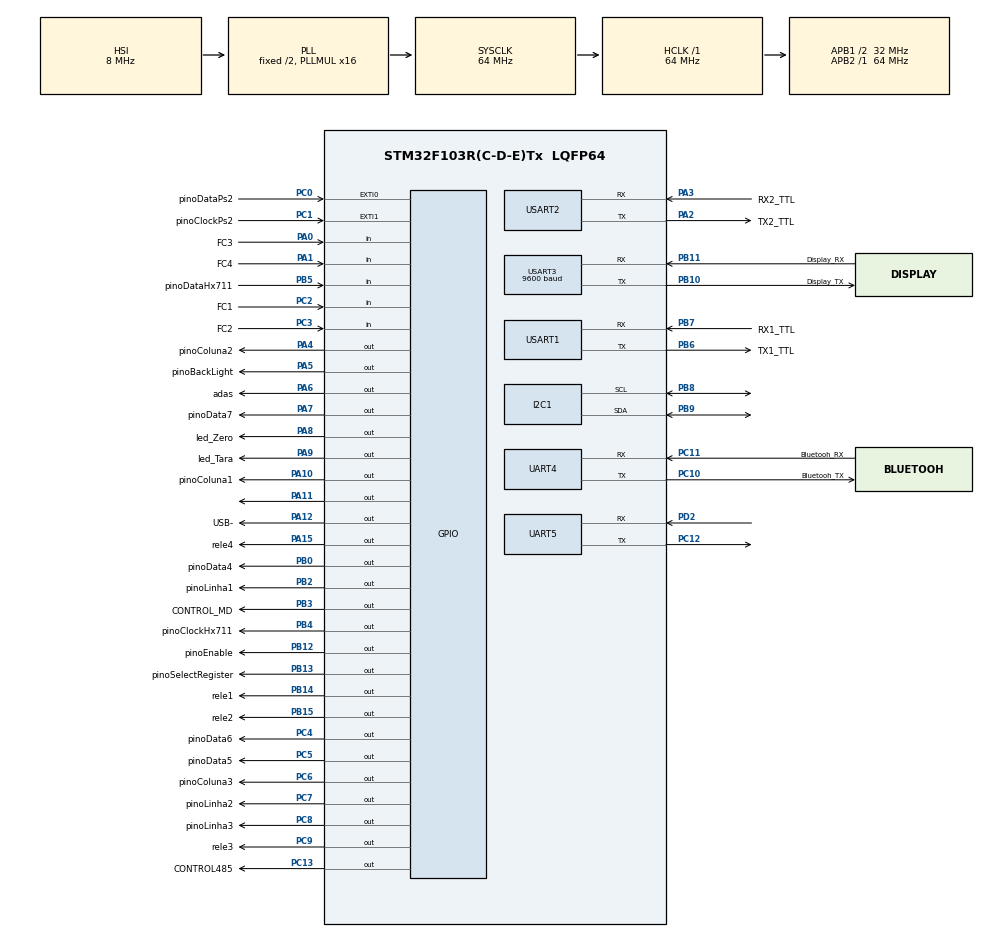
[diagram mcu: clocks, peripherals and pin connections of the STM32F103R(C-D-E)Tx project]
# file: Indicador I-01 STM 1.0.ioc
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Mcu.Family=STM32F1
Mcu.Name=STM32F103R(C-D-E)Tx
Mcu.Package=LQFP64
NVIC.EXTI0_IRQn=true\:1\:0\:true\:false\:true\:true\:true\:true
NVIC.EXTI1_IRQn=true\:1\:0\:true\:false\:true\:true\:true\:true
NVIC.PriorityGroup=NVIC_PRIORITYGROUP_4
NVIC.TIM2_IRQn=true\:0\:0\:false\:false\:true\:true\:true\:true
NVIC.TIM3_IRQn=true\:0\:0\:false\:false\:true\:true\:true\:true
NVIC.UART4_IRQn=true\:1\:0\:true\:false\:true\:true\:true\:true
NVIC.UART5_IRQn=true\:1\:0\:true\:false\:true\:true\:true\:true
NVIC.USART1_IRQn=true\:1\:0\:true\:false\:true\:true\:true\:true
NVIC.USART2_IRQn=true\:0\:0\:false\:false\:true\:true\:true\:true
NVIC.USART3_IRQn=true\:1\:0\:true\:false\:true\:true\:true\:true
PA0-WKUP.GPIO_Label=FC3
PA0-WKUP.Signal=GPIO_Input
PA1.GPIO_Label=FC4
PA1.Signal=GPIO_Input
PA10.GPIO_Label=pinoColuna1
PA10.Signal=GPIO_Output
PA11.Signal=GPIO_Output
PA12.GPIO_Label=USB-
PA12.Signal=GPIO_Output
PA13.Mode=Serial_Wire
PA13.Signal=SYS_JTMS-SWDIO
PA14.Mode=Serial_Wire
PA14.Signal=SYS_JTCK-SWCLK
PA15.GPIO_Label=rele4
PA15.Signal=GPIO_Output
PA2.GPIO_Label=TX2_TTL
PA2.Mode=Asynchronous
PA2.Signal=USART2_TX
PA3.GPIO_Label=RX2_TTL
PA3.Mode=Asynchronous
PA3.Signal=USART2_RX
PA4.GPIO_Label=pinoColuna2
PA4.Signal=GPIO_Output
PA5.GPIO_Label=pinoBackLight
PA5.Signal=GPIO_Output
PA6.GPIO_Label=adas
PA6.Signal=GPIO_Output
PA7.GPIO_Label=pinoData7
PA7.Signal=GPIO_Output
PA8.GPIO_Label=led_Zero
PA8.Signal=GPIO_Output
PA9.GPIO_Label=led_Tara
PA9.Signal=GPIO_Output
PB0.GPIO_Label=pinoData4
PB0.Signal=GPIO_Output
PB10.GPIO_Label=Display_TX
PB10.Mode=Asynchronous
PB10.Signal=USART3_TX
PB11.GPIO_Label=Display_RX
PB11.Mode=Asynchronous
PB11.Signal=USART3_RX
PB12.GPIO_Label=pinoEnable
PB12.Signal=GPIO_Output
PB13.GPIO_Label=pinoSelectRegister
PB13.Signal=GPIO_Output
PB14.GPIO_Label=rele1
PB14.Signal=GPIO_Output
PB15.GPIO_Label=rele2
PB15.Signal=GPIO_Output
PB2.GPIO_Label=pinoLinha1
PB2.Signal=GPIO_Output
PB3.GPIO_Label=CONTROL_MD
PB3.Signal=GPIO_Output
PB4.GPIO_Label=pinoClockHx711
PB4.Signal=GPIO_Output
PB5.GPIO_Label=pinoDataHx711
PB5.Signal=GPIO_Input
PB6.GPIO_Label=TX1_TTL
PB6.Mode=Asynchronous
PB6.Signal=USART1_TX
PB7.GPIO_Label=RX1_TTL
PB7.Mode=Asynchronous
PB7.Signal=USART1_RX
PB8.Mode=I2C
PB8.Signal=I2C1_SCL
PB9.Mode=I2C
PB9.Signal=I2C1_SDA
PC0.GPIO_Label=pinoDataPs2
PC0.Signal=GPXTI0
PC1.GPIO_Label=pinoClockPs2
PC1.GPIO_ModeDefaultEXTI=GPIO_MODE_IT_FALLING
PC1.Signal=GPXTI1
PC10.GPIO_Label=Bluetooh_TX
PC10.Mode=Asynchronous
PC10.Signal=UART4_TX
PC11.GPIO_Label=Bluetooh_RX
PC11.Mode=Asynchronous
PC11.Signal=UART4_RX
PC12.Mode=Asynchronous
PC12.Signal=UART5_TX
PC13-TAMPER-RTC.GPIO_Label=CONTROL485
PC13-TAMPER-RTC.Signal=GPIO_Output
PC14-OSC32_IN.Mode=LSE-External-Oscillator
PC14-OSC32_IN.Signal=RCC_OSC32_IN
PC15-OSC32_OUT.Mode=LSE-External-Oscillator
PC15-OSC32_OUT.Signal=RCC_OSC32_OUT
PC2.GPIO_Label=FC1
PC2.Signal=GPIO_Input
PC3.GPIO_Label=FC2
PC3.Signal=GPIO_Input
PC4.GPIO_Label=pinoData6
PC4.Signal=GPIO_Output
PC5.GPIO_Label=pinoData5
PC5.Signal=GPIO_Output
PC6.GPIO_Label=pinoColuna3
PC6.Signal=GPIO_Output
PC7.GPIO_Label=pinoLinha2
PC7.Signal=GPIO_Output
PC8.GPIO_Label=pinoLinha3
PC8.Signal=GPIO_Output
PC9.GPIO_Label=rele3
PC9.Signal=GPIO_Output
PD0-OSC_IN.Mode=HSE-External-Oscillator
PD0-OSC_IN.Signal=RCC_OSC_IN
PD1-OSC_OUT.Mode=HSE-External-Oscillator
PD1-OSC_OUT.Signal=RCC_OSC_OUT
PD2.Mode=Asynchronous
PD2.Signal=UART5_RX
ProjectManager.HeapSize=0x200
ProjectManager.StackSize=0x400
ProjectManager.TargetToolchain=STM32CubeIDE
RCC.ADCPresc=RCC_ADCPCLK2_DIV6
RCC.AHBFreq_Value=64000000
RCC.APB1CLKDivider=RCC_HCLK_DIV2
RCC.APB1Freq_Value=32000000
RCC.APB1TimFreq_Value=64000000
RCC.APB2Freq_Value=64000000
RCC.APB2TimFreq_Value=64000000
RCC.HCLKFreq_Value=64000000
RCC.HSEDivPLL=RCC_HSE_PREDIV_DIV2
RCC.PLLMUL=RCC_PLL_MUL16
RCC.SYSCLKFreq_VALUE=64000000
RCC.SYSCLKSource=RCC_SYSCLKSOURCE_PLLCLK
RCC.USBFreq_Value=42666666.666666664
RCC.USBPrescaler=RCC_USBCLKSOURCE_PLL_DIV1_5
TIM2.Period=64
TIM2.Prescaler=200
TIM3.Period=64
TIM3.Prescaler=200
UART4.VirtualMode=Asynchronous
UART5.VirtualMode=Asynchronous
USART1.VirtualMode=VM_ASYNC
USART2.VirtualMode=VM_ASYNC
USART3.BaudRate=9600
USART3.VirtualMode=VM_ASYNC
VP_TIM2_VS_ClockSourceINT.Mode=Internal
VP_TIM3_VS_ClockSourceINT.Mode=Internal
board=custom

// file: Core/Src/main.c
/* USER CODE BEGIN Header */
/**
  ******************************************************************************
  * @file           : main.c
  * @brief          : Main program body
  ******************************************************************************
  * @attention
  *
  * Copyright (c) 2022 STMicroelectronics.
  * All rights reserved.
  *
  * This software is licensed under terms that can be found in the LICENSE file
  * in the root directory of this software component.
  * If no LICENSE file comes with this software, it is provided AS-IS.
  *
  ******************************************************************************
  */
/* USER CODE END Header */
#include "main.h"

I2C_HandleTypeDef hi2c1;

TIM_HandleTypeDef htim2;
TIM_HandleTypeDef htim3;

UART_HandleTypeDef huart4;
UART_HandleTypeDef huart5;
UART_HandleTypeDef huart1;
UART_HandleTypeDef huart2;
UART_HandleTypeDef huart3;

/* USER CODE BEGIN PV */
#include "includes.h"
/* USER CODE END PV */

void SystemClock_Config(void);
static void MX_GPIO_Init(void);
static void MX_TIM2_Init(void);
static void MX_I2C1_Init(void);
static void MX_UART4_Init(void);
static void MX_USART2_UART_Init(void);
static void MX_USART3_UART_Init(void);
static void MX_USART1_UART_Init(void);
static void MX_UART5_Init(void);
static void MX_TIM3_Init(void);

int main(void)
{

  /* MCU Configuration--------------------------------------------------------*/

  /* Reset of all peripherals, Initializes the Flash interface and the Systick. */
  HAL_Init();

  /* Configure the system clock */
  SystemClock_Config();

  /* Initialize all configured peripherals */
  MX_GPIO_Init();
  MX_TIM2_Init();
  MX_I2C1_Init();
  MX_UART4_Init();
  MX_USART2_UART_Init();
  MX_USART3_UART_Init();
  MX_USART1_UART_Init();
  MX_UART5_Init();
  MX_TIM3_Init();
  /* USER CODE BEGIN 2 */
	HAL_TIM_Base_Start_IT(&htim2);
	HAL_TIM_Base_Start_IT(&htim3);

  flagFazLeituraI2c = 1;
  /* USER CODE END 2 */

  /* Infinite loop */
  while (1)
  {

    /* USER CODE BEGIN 3 */
	  ControleMultTask();
  }
  /* USER CODE END 3 */
}

void SystemClock_Config(void)
{
  RCC_OscInitTypeDef RCC_OscInitStruct = {0};
  RCC_ClkInitTypeDef RCC_ClkInitStruct = {0};

  /** Initializes the RCC Oscillators according to the specified parameters
  * in the RCC_OscInitTypeDef structure.
  */
  RCC_OscInitStruct.OscillatorType = RCC_OSCILLATORTYPE_HSI;
  RCC_OscInitStruct.HSIState = RCC_HSI_ON;
  RCC_OscInitStruct.HSICalibrationValue = RCC_HSICALIBRATION_DEFAULT;
  RCC_OscInitStruct.PLL.PLLState = RCC_PLL_ON;
  RCC_OscInitStruct.PLL.PLLSource = RCC_PLLSOURCE_HSI_DIV2;
  RCC_OscInitStruct.PLL.PLLMUL = RCC_PLL_MUL16;
  if (HAL_RCC_OscConfig(&RCC_OscInitStruct) != HAL_OK)
  {
    Error_Handler();
  }

  /** Initializes the CPU, AHB and APB buses clocks
  */
  RCC_ClkInitStruct.ClockType = RCC_CLOCKTYPE_HCLK|RCC_CLOCKTYPE_SYSCLK
                              |RCC_CLOCKTYPE_PCLK1|RCC_CLOCKTYPE_PCLK2;
  RCC_ClkInitStruct.SYSCLKSource = RCC_SYSCLKSOURCE_PLLCLK;
  RCC_ClkInitStruct.AHBCLKDivider = RCC_SYSCLK_DIV1;
  RCC_ClkInitStruct.APB1CLKDivider = RCC_HCLK_DIV2;
  RCC_ClkInitStruct.APB2CLKDivider = RCC_HCLK_DIV1;

  if (HAL_RCC_ClockConfig(&RCC_ClkInitStruct, FLASH_LATENCY_2) != HAL_OK)
  {
    Error_Handler();
  }
}

static void MX_I2C1_Init(void)
{

  hi2c1.Instance = I2C1;
  hi2c1.Init.ClockSpeed = 100000;
  hi2c1.Init.DutyCycle = I2C_DUTYCYCLE_2;
  hi2c1.Init.OwnAddress1 = 0;
  hi2c1.Init.AddressingMode = I2C_ADDRESSINGMODE_7BIT;
  hi2c1.Init.DualAddressMode = I2C_DUALADDRESS_DISABLE;
  hi2c1.Init.OwnAddress2 = 0;
  hi2c1.Init.GeneralCallMode = I2C_GENERALCALL_DISABLE;
  hi2c1.Init.NoStretchMode = I2C_NOSTRETCH_DISABLE;
  if (HAL_I2C_Init(&hi2c1) != HAL_OK)
  {
    Error_Handler();
  }

}

static void MX_TIM2_Init(void)
{

  TIM_ClockConfigTypeDef sClockSourceConfig = {0};
  TIM_MasterConfigTypeDef sMasterConfig = {0};

  htim2.Instance = TIM2;
  htim2.Init.Prescaler = 200;
  htim2.Init.CounterMode = TIM_COUNTERMODE_UP;
  htim2.Init.Period = 64;
  htim2.Init.ClockDivision = TIM_CLOCKDIVISION_DIV1;
  htim2.Init.AutoReloadPreload = TIM_AUTORELOAD_PRELOAD_DISABLE;
  if (HAL_TIM_Base_Init(&htim2) != HAL_OK)
  {
    Error_Handler();
  }
  sClockSourceConfig.ClockSource = TIM_CLOCKSOURCE_INTERNAL;
  if (HAL_TIM_ConfigClockSource(&htim2, &sClockSourceConfig) != HAL_OK)
  {
    Error_Handler();
  }
  sMasterConfig.MasterOutputTrigger = TIM_TRGO_RESET;
  sMasterConfig.MasterSlaveMode = TIM_MASTERSLAVEMODE_DISABLE;
  if (HAL_TIMEx_MasterConfigSynchronization(&htim2, &sMasterConfig) != HAL_OK)
  {
    Error_Handler();
  }

}

static void MX_TIM3_Init(void)
{

  TIM_ClockConfigTypeDef sClockSourceConfig = {0};
  TIM_MasterConfigTypeDef sMasterConfig = {0};

  htim3.Instance = TIM3;
  htim3.Init.Prescaler = 200;
  htim3.Init.CounterMode = TIM_COUNTERMODE_UP;
  htim3.Init.Period = 64;
  htim3.Init.ClockDivision = TIM_CLOCKDIVISION_DIV1;
  htim3.Init.AutoReloadPreload = TIM_AUTORELOAD_PRELOAD_DISABLE;
  if (HAL_TIM_Base_Init(&htim3) != HAL_OK)
  {
    Error_Handler();
  }
  sClockSourceConfig.ClockSource = TIM_CLOCKSOURCE_INTERNAL;
  if (HAL_TIM_ConfigClockSource(&htim3, &sClockSourceConfig) != HAL_OK)
  {
    Error_Handler();
  }
  sMasterConfig.MasterOutputTrigger = TIM_TRGO_RESET;
  sMasterConfig.MasterSlaveMode = TIM_MASTERSLAVEMODE_DISABLE;
  if (HAL_TIMEx_MasterConfigSynchronization(&htim3, &sMasterConfig) != HAL_OK)
  {
    Error_Handler();
  }

}

static void MX_UART4_Init(void)
{

  huart4.Instance = UART4;
  huart4.Init.BaudRate = 115200;
  huart4.Init.WordLength = UART_WORDLENGTH_8B;
  huart4.Init.StopBits = UART_STOPBITS_1;
  huart4.Init.Parity = UART_PARITY_NONE;
  huart4.Init.Mode = UART_MODE_TX_RX;
  huart4.Init.HwFlowCtl = UART_HWCONTROL_NONE;
  huart4.Init.OverSampling = UART_OVERSAMPLING_16;
  if (HAL_UART_Init(&huart4) != HAL_OK)
  {
    Error_Handler();
  }

}

static void MX_UART5_Init(void)
{

  huart5.Instance = UART5;
  huart5.Init.BaudRate = 115200;
  huart5.Init.WordLength = UART_WORDLENGTH_8B;
  huart5.Init.StopBits = UART_STOPBITS_1;
  huart5.Init.Parity = UART_PARITY_NONE;
  huart5.Init.Mode = UART_MODE_TX_RX;
  huart5.Init.HwFlowCtl = UART_HWCONTROL_NONE;
  huart5.Init.OverSampling = UART_OVERSAMPLING_16;
  if (HAL_UART_Init(&huart5) != HAL_OK)
  {
    Error_Handler();
  }

}

static void MX_USART1_UART_Init(void)
{

  huart1.Instance = USART1;
  huart1.Init.BaudRate = 115200;
  huart1.Init.WordLength = UART_WORDLENGTH_8B;
  huart1.Init.StopBits = UART_STOPBITS_1;
  huart1.Init.Parity = UART_PARITY_NONE;
  huart1.Init.Mode = UART_MODE_TX_RX;
  huart1.Init.HwFlowCtl = UART_HWCONTROL_NONE;
  huart1.Init.OverSampling = UART_OVERSAMPLING_16;
  if (HAL_UART_Init(&huart1) != HAL_OK)
  {
    Error_Handler();
  }

}

static void MX_USART2_UART_Init(void)
{

  huart2.Instance = USART2;
  huart2.Init.BaudRate = 115200;
  huart2.Init.WordLength = UART_WORDLENGTH_8B;
  huart2.Init.StopBits = UART_STOPBITS_1;
  huart2.Init.Parity = UART_PARITY_NONE;
  huart2.Init.Mode = UART_MODE_TX_RX;
  huart2.Init.HwFlowCtl = UART_HWCONTROL_NONE;
  huart2.Init.OverSampling = UART_OVERSAMPLING_16;
  if (HAL_UART_Init(&huart2) != HAL_OK)
  {
    Error_Handler();
  }

}

static void MX_USART3_UART_Init(void)
{

  huart3.Instance = USART3;
  huart3.Init.BaudRate = 9600;
  huart3.Init.WordLength = UART_WORDLENGTH_8B;
  huart3.Init.StopBits = UART_STOPBITS_1;
  huart3.Init.Parity = UART_PARITY_NONE;
  huart3.Init.Mode = UART_MODE_TX_RX;
  huart3.Init.HwFlowCtl = UART_HWCONTROL_NONE;
  huart3.Init.OverSampling = UART_OVERSAMPLING_16;
  if (HAL_UART_Init(&huart3) != HAL_OK)
  {
    Error_Handler();
  }

}

static void MX_GPIO_Init(void)
{
  GPIO_InitTypeDef GPIO_InitStruct = {0};

  /* GPIO Ports Clock Enable */
  __HAL_RCC_GPIOC_CLK_ENABLE();
  __HAL_RCC_GPIOD_CLK_ENABLE();
  __HAL_RCC_GPIOA_CLK_ENABLE();
  __HAL_RCC_GPIOB_CLK_ENABLE();

  /*Configure GPIO pin Output Level */
  HAL_GPIO_WritePin(GPIOC, CONTROL485_Pin|pinoData6_Pin|pinoData5_Pin|pinoColuna3_Pin
                          |pinoLinha2_Pin|pinoLinha3_Pin|rele3_Pin, GPIO_PIN_RESET);

  /*Configure GPIO pin Output Level */
  HAL_GPIO_WritePin(GPIOA, pinoColuna2_Pin|pinoBackLight_Pin|adas_Pin|pinoData7_Pin
                          |led_Zero_Pin|led_Tara_Pin|pinoColuna1_Pin|GPIO_PIN_11
                          |USB__Pin|rele4_Pin, GPIO_PIN_RESET);

  /*Configure GPIO pin Output Level */
  HAL_GPIO_WritePin(GPIOB, pinoData4_Pin|pinoLinha1_Pin|pinoEnable_Pin|pinoSelectRegister_Pin
                          |rele1_Pin|rele2_Pin|CONTROL_MD_Pin|pinoClockHx711_Pin, GPIO_PIN_RESET);

  /*Configure GPIO pins : CONTROL485_Pin pinoData6_Pin pinoData5_Pin pinoColuna3_Pin
                           pinoLinha2_Pin pinoLinha3_Pin rele3_Pin */
  GPIO_InitStruct.Pin = CONTROL485_Pin|pinoData6_Pin|pinoData5_Pin|pinoColuna3_Pin
                          |pinoLinha2_Pin|pinoLinha3_Pin|rele3_Pin;
  GPIO_InitStruct.Mode = GPIO_MODE_OUTPUT_PP;
  GPIO_InitStruct.Pull = GPIO_NOPULL;
  GPIO_InitStruct.Speed = GPIO_SPEED_FREQ_LOW;
  HAL_GPIO_Init(GPIOC, &GPIO_InitStruct);

  /*Configure GPIO pin : pinoDataPs2_Pin */
  GPIO_InitStruct.Pin = pinoDataPs2_Pin;
  GPIO_InitStruct.Mode = GPIO_MODE_IT_RISING;
  GPIO_InitStruct.Pull = GPIO_NOPULL;
  HAL_GPIO_Init(pinoDataPs2_GPIO_Port, &GPIO_InitStruct);

  /*Configure GPIO pin : pinoClockPs2_Pin */
  GPIO_InitStruct.Pin = pinoClockPs2_Pin;
  GPIO_InitStruct.Mode = GPIO_MODE_IT_FALLING;
  GPIO_InitStruct.Pull = GPIO_NOPULL;
  HAL_GPIO_Init(pinoClockPs2_GPIO_Port, &GPIO_InitStruct);

  /*Configure GPIO pins : FC1_Pin FC2_Pin */
  GPIO_InitStruct.Pin = FC1_Pin|FC2_Pin;
  GPIO_InitStruct.Mode = GPIO_MODE_INPUT;
  GPIO_InitStruct.Pull = GPIO_NOPULL;
  HAL_GPIO_Init(GPIOC, &GPIO_InitStruct);

  /*Configure GPIO pins : FC3_Pin FC4_Pin */
  GPIO_InitStruct.Pin = FC3_Pin|FC4_Pin;
  GPIO_InitStruct.Mode = GPIO_MODE_INPUT;
  GPIO_InitStruct.Pull = GPIO_NOPULL;
  HAL_GPIO_Init(GPIOA, &GPIO_InitStruct);

  /*Configure GPIO pins : pinoColuna2_Pin pinoBackLight_Pin adas_Pin pinoData7_Pin
                           led_Zero_Pin led_Tara_Pin pinoColuna1_Pin PA11
                           USB__Pin rele4_Pin */
  GPIO_InitStruct.Pin = pinoColuna2_Pin|pinoBackLight_Pin|adas_Pin|pinoData7_Pin
                          |led_Zero_Pin|led_Tara_Pin|pinoColuna1_Pin|GPIO_PIN_11
                          |USB__Pin|rele4_Pin;
  GPIO_InitStruct.Mode = GPIO_MODE_OUTPUT_PP;
  GPIO_InitStruct.Pull = GPIO_NOPULL;
  GPIO_InitStruct.Speed = GPIO_SPEED_FREQ_LOW;
  HAL_GPIO_Init(GPIOA, &GPIO_InitStruct);

  /*Configure GPIO pins : pinoData4_Pin pinoLinha1_Pin pinoEnable_Pin pinoSelectRegister_Pin
                           rele1_Pin rele2_Pin CONTROL_MD_Pin pinoClockHx711_Pin */
  GPIO_InitStruct.Pin = pinoData4_Pin|pinoLinha1_Pin|pinoEnable_Pin|pinoSelectRegister_Pin
                          |rele1_Pin|rele2_Pin|CONTROL_MD_Pin|pinoClockHx711_Pin;
  GPIO_InitStruct.Mode = GPIO_MODE_OUTPUT_PP;
  GPIO_InitStruct.Pull = GPIO_NOPULL;
  GPIO_InitStruct.Speed = GPIO_SPEED_FREQ_LOW;
  HAL_GPIO_Init(GPIOB, &GPIO_InitStruct);

  /*Configure GPIO pin : pinoDataHx711_Pin */
  GPIO_InitStruct.Pin = pinoDataHx711_Pin;
  GPIO_InitStruct.Mode = GPIO_MODE_INPUT;
  GPIO_InitStruct.Pull = GPIO_NOPULL;
  HAL_GPIO_Init(pinoDataHx711_GPIO_Port, &GPIO_InitStruct);

  /* EXTI interrupt init*/
  HAL_NVIC_SetPriority(EXTI0_IRQn, 1, 0);
  HAL_NVIC_EnableIRQ(EXTI0_IRQn);

  HAL_NVIC_SetPriority(EXTI1_IRQn, 1, 0);
  HAL_NVIC_EnableIRQ(EXTI1_IRQn);

}

/* USER CODE BEGIN 4 */
void HAL_TIM_PeriodElapsedCallback (TIM_HandleTypeDef *htim)
{

	if(htim->Instance == TIM2)
	{
		controleDasTasks = 1;
	}

	if(htim->Instance == TIM3)
	{
		if(flagModBusRtu.tempoMaxRxModBusRtu == 1)
		{
			if(++tempoMaxRxModBusRtu == silentModBusRtu)
			{
				trataFrameRxModBusRtu();
			}
		}
	}
}

void HAL_UART_RxCpltCallback(UART_HandleTypeDef *huart)
{
	if(exibeVersionControl == 0 && statusLigaDesliga ==_LIGADO)
	{
		if(huart->Instance==USART1)
		{
			if(statusPortaSerial_1Mem == _RS232)
			{
				HAL_UART_Receive_IT (&huart1,Rx_ModbusSerial_1,1);
				rrxModBusRtu = Rx_ModbusSerial_1[0];
				rxSerialModBusRtu();
			}

		}

		if(huart->Instance==UART5)
		{
			if(statusPortaSerial_1Mem == _RS485)
			{
				HAL_UART_Receive_IT (&huart5,Rx_ModbusSerial_1,1);
				rrxModBusRtu = Rx_ModbusSerial_1[0];
				rxSerialModBusRtu();
			}
		}
	}

}

void HAL_UART_TxCpltCallback(UART_HandleTypeDef *huart)
{
	if(huart->Instance==USART1)
	{
		flagModBusRtu.txModBusRtu = 0;
		flagTxSerial_1.transmitindoSerial_1 = 0;
		flagModBusRtu.transmitindoModBusRtu = 0;
		HAL_GPIO_WritePin(CONTROL485_GPIO_Port, CONTROL485_Pin, GPIO_PIN_RESET);
		HAL_UART_AbortTransmit_IT(&huart1);
	}

	if(huart->Instance==USART2)
	{
		transmitindoSerial_2 = 0;
		HAL_UART_AbortTransmit_IT(&huart2);
	}

	if(huart->Instance==USART3)
	{

		HAL_UART_AbortTransmit_IT(&huart3);
	}

	if(huart->Instance==UART5)
	{
		flagModBusRtu.txModBusRtu = 0;
		flagTxSerial_1.transmitindoSerial_1 = 0;
		flagModBusRtu.transmitindoModBusRtu = 0;
		HAL_GPIO_WritePin(CONTROL485_GPIO_Port, CONTROL485_Pin, GPIO_PIN_RESET);
		HAL_UART_AbortTransmit_IT(&huart5);
	}

}
/* USER CODE END 4 */

void Error_Handler(void)
{
  __disable_irq();
  while (1)
  {
  }
}
